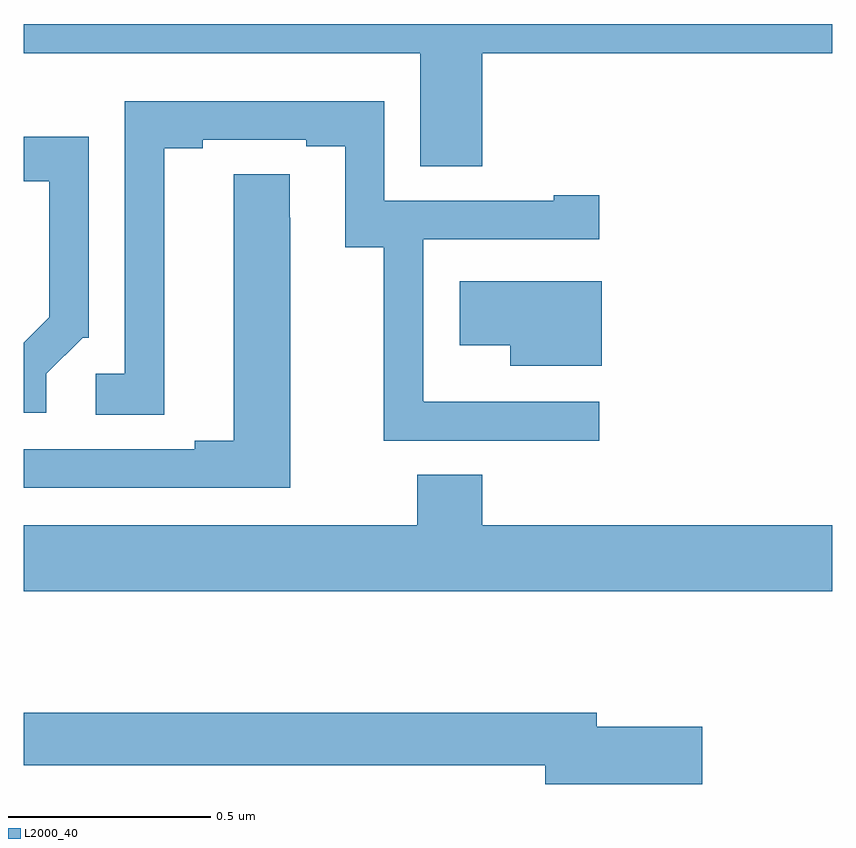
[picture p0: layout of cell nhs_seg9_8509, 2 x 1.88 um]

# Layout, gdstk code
import gdstk
lib = gdstk.Library(unit=1e-6, precision=1e-09)
def P(c, l, *ps):  # polygons
    for p in ps: c.add(gdstk.Polygon(p, *l))
L2000_40 = (2000, 40)

nhs_seg9_8509 = lib.new_cell('nhs_seg9_8509')
P(nhs_seg9_8509, L2000_40, [(219.134,1188.428),(220,1188.428),(220,1188.5),(218,1188.5),(218,1188.428),(218.981,1188.428),(218.981,1188.148),(219.134,1188.148)],
  [(219.424,1187.565),(218.99,1187.565),(218.99,1187.566),(218.988,1187.566),(218.988,1187.967),(219.424,1187.967),(219.424,1188.076),(219.311,1188.076),(219.311,1188.063),(218.892,1188.063),(218.892,1188.309),(218.25,1188.309),(218.25,1187.634),(218.178,1187.634),(218.178,1187.533),(218.347,1187.533),(218.347,1188.193),(218.443,1188.193),(218.443,1188.213),(218.699,1188.213),(218.699,1188.198),(218.795,1188.198),(218.795,1187.947),(218.89,1187.947),(218.89,1187.469),(219.424,1187.469)],
  [(218.055,1187.634),(218.145,1187.724),(218.16,1187.724),(218.16,1188.221),(218,1188.221),(218,1188.111),(218.063,1188.111),(218.063,1187.774),(218,1187.711),(218,1187.538),(218.055,1187.538)],
  [(218.659,1188.02),(218.658,1188.02),(218.658,1188.128),(218.519,1188.128),(218.519,1187.468),(218.423,1187.468),(218.423,1187.448),(218,1187.448),(218,1187.352),(218.659,1187.352)],
  [(219.43,1187.863),(219.078,1187.863),(219.078,1187.705),(219.203,1187.705),(219.203,1187.654),(219.43,1187.654)],
  [(220,1187.26),(219.134,1187.26),(219.134,1187.384),(218.974,1187.384),(218.974,1187.26),(218,1187.26),(218,1187.096),(220,1187.096)],
  [(219.679,1186.761),(219.418,1186.761),(219.418,1186.795),(218,1186.795),(218,1186.666),(219.29,1186.666),(219.29,1186.619),(219.679,1186.619)])

lib.write_gds('nhs_seg9_8509.gds')
